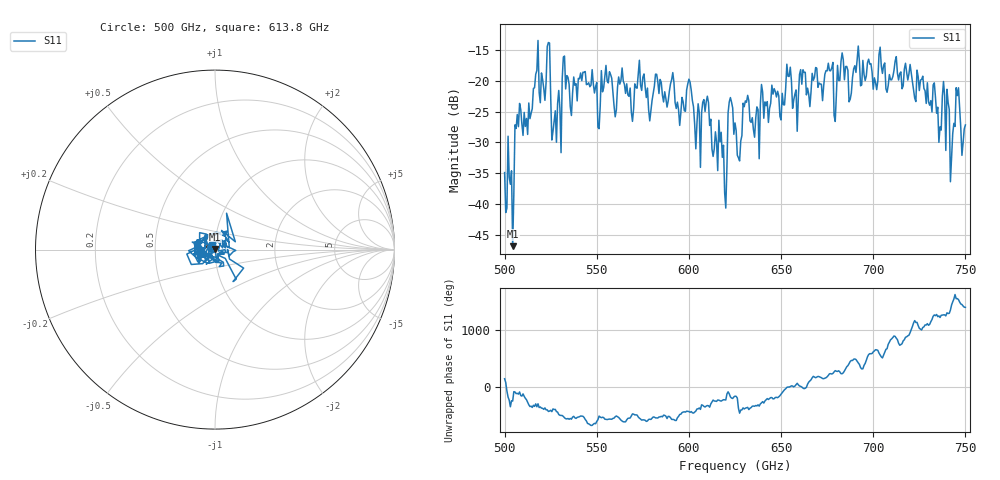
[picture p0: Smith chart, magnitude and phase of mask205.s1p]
!Created with skrf (http://scikit-rf.org).
# GHz S MA R 50.0
!freq magS11 angS11
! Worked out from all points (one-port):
!   401 points, 500 GHz to 750 GHz, reference 50 ohm
!   lowest |S11| = -46.8 dB at 504.4 GHz (marker M1), VSWR 1.01, Z = 49.8 + j0.394 ohm
!   |S11| at or under -10 dB: start of sweep to end of sweep
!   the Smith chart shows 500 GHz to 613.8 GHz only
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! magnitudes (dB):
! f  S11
! 500 GHz  -34.9
! 504.4 GHz  -46.8
! 506.9 GHz  -25.5
! 513.8 GHz  -26.1
! 516.9 GHz  -18.9
! 523.8 GHz  -13.8
! 526.9 GHz  -26.5
! 531.2 GHz  -19.7
! 562.5 GHz  -20.5
! 579.4 GHz  -24.8
! 590.6 GHz  -19.8
! 593.8 GHz  -23.5
! 600 GHz  -19.7
! 605 GHz  -23.7
! 609.4 GHz  -23.4
! 619.4 GHz  -38.1
! 622.5 GHz  -22.7
! 625 GHz  -26.8
! 656.2 GHz  -24.5
! 683.8 GHz  -16.6
! 687.5 GHz  -23.0
! 691.2 GHz  -16.6
! 718.8 GHz  -19.9
! 735.6 GHz  -30.0
! 739.4 GHz  -31.3
! 743.1 GHz  -28.6
! 745.6 GHz  -22.4
! 750 GHz  -27.2
